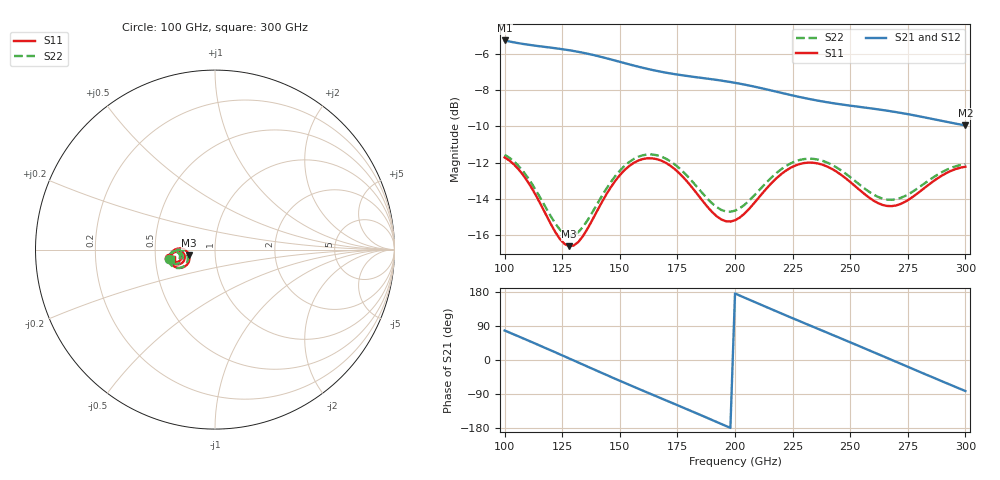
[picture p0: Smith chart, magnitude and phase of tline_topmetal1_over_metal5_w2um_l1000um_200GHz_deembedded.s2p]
! Created with skrf 2.2.0 (http://scikit-rf.org).
# GHz S DB R 50.0
! Port[1] = P1
! Port[2] = P2
!freq dBS11 angS11 dBS21 angS21 dBS12 angS12 dBS22 angS22
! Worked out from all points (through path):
!   101 points, 100 GHz to 300 GHz, reference 50 ohm
!   highest |S21| = -5.26 dB at 100 GHz (marker M1); lowest = -9.9 dB at 300 GHz (marker M2)
!   group delay of S21, straight-line fit = 7.22 ps
!   lowest |S11| = -16.6 dB at 128 GHz (marker M3), VSWR 1.35, Z = 37.3 - j2.43 ohm
!   |S11| at or under -10 dB: start of sweep to end of sweep
!   |S22| runs from -16.0 to -11.6 dB; largest |S21 - S12| = 8.1e-14
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100  -11.71 -169.8  -5.26 77.9  -5.26 77.9  -11.57 -168.6
108  -12.68 -178.5  -5.45 57.2  -5.45 57.2  -12.48 -176.9
116  -14.39 178.1  -5.59 36.2  -5.59 36.2  -14.06 180.0
128  -16.61 -167.6  -5.80 4.2  -5.80 4.2  -16.04 -167.0
134  -16.06 -156.5  -5.94 -12.0  -5.94 -12.0  -15.55 -157.0
144  -13.79 -151.0  -6.24 -38.9  -6.24 -38.9  -13.48 -151.9
152  -12.42 -155.7  -6.51 -60.0  -6.51 -60.0  -12.19 -156.2
160  -11.80 -163.3  -6.77 -80.8  -6.77 -80.8  -11.59 -163.3
168  -11.89 -171.1  -6.99 -101.3  -6.99 -101.3  -11.67 -170.7
176  -12.61 -177.1  -7.16 -121.8  -7.16 -121.8  -12.33 -176.3
186  -14.12 -178.6  -7.34 -147.7  -7.34 -147.7  -13.71 -177.7
200  -15.18 -165.2  -7.60 175.5  -7.60 175.5  -14.65 -165.9
208  -14.28 -158.6  -7.80 154.4  -7.80 154.4  -13.86 -160.0
218  -12.86 -158.8  -8.09 128.3  -8.09 128.3  -12.58 -160.2
226  -12.17 -163.3  -8.32 107.7  -8.32 107.7  -11.94 -164.4
234  -12.01 -169.0  -8.53 87.4  -8.53 87.4  -11.79 -169.7
242  -12.34 -173.9  -8.71 67.1  -8.71 67.1  -12.12 -174.4
252  -13.28 -176.7  -8.89 41.6  -8.89 41.6  -13.00 -177.0
268  -14.40 -168.7  -9.18 0.3  -9.18 0.3  -14.05 -169.7
276  -13.99 -163.5  -9.35 -20.5  -9.35 -20.5  -13.69 -164.9
286  -13.04 -162.0  -9.60 -46.3  -9.60 -46.3  -12.82 -163.5
300  -12.23 -167.2  -9.95 -81.9  -9.95 -81.9  -12.09 -168.4
